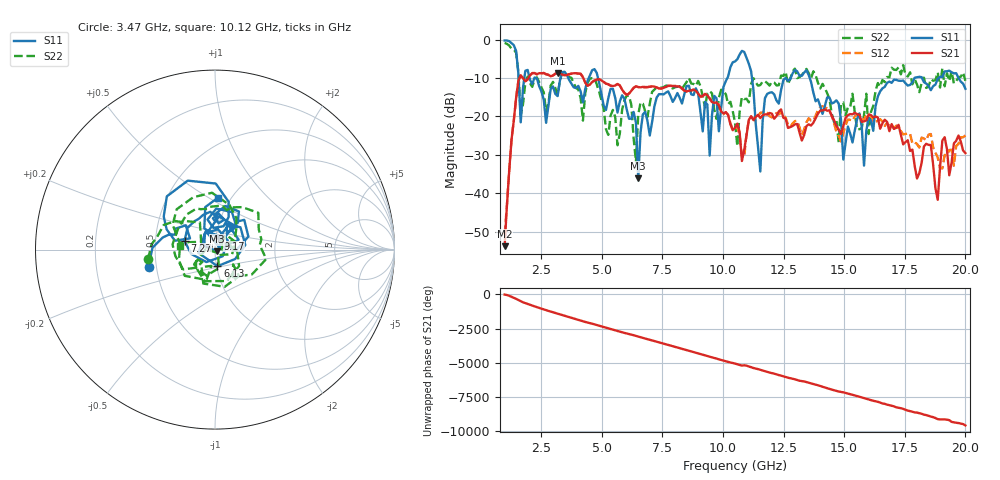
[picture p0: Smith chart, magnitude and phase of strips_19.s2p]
!Agilent Technologies,N5230A,MY45001629,A.07.50.67
!Agilent N5230A: A.07.50.67
!Date: Monday, June 05, 2017 16:34:08
!Correction: S11(Full 2 Port(1,2))
!S21(Full 2 Port(1,2))
!S12(Full 2 Port(1,2))
!S22(Full 2 Port(1,2))
!S2P File: Measurements: S11, S21, S12, S22:
# Hz S  dB  R 50
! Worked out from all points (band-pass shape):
!   201 points, 1 GHz to 20 GHz, reference 50 ohm
!   highest |S21| = -8.67 dB at 3.185 GHz (marker M1); lowest = -53.7 dB at 1 GHz (marker M2)
!   |S21| within 3 dB of the highest: 1.549 GHz to 4.38 GHz (2.831 GHz wide, 95.5 % of centre); 4.521 GHz to 5.282 GHz (760.6 MHz wide, 15.5 % of centre)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
!   lowest |S11| = -36.1 dB at 6.51 GHz (marker M3), VSWR 1.03, Z = 51.3 - j0.957 ohm
!   |S11| at or under -10 dB: 4.851 GHz to 10.18 GHz (5.332 GHz wide, 70.9 % of centre); 11.2 GHz to 12.59 GHz (1.387 GHz wide, 11.7 % of centre); 13.58 GHz to 17.9 GHz (4.323 GHz wide, 27.5 % of centre)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
!   |S22| runs from -31.8 to -0.9 dB; largest |S21 - S12| = 0.033
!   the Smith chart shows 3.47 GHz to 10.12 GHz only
!   S11 on the Smith chart (normalised r, x): 3.47 GHz: 0.45, -0.10; 6.13 GHz: 1.01, -0.19; 7.27 GHz: 0.71, +0.07; 9.17 GHz: 1.02, +0.13; 10.12 GHz: 0.87, +0.55
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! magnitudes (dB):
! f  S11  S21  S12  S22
! 1 GHz  -0.2  -53.7  -50.6  -0.9
! 1.57 GHz  -8.9  -10.7  -10.7  -8.6
! 3.185 GHz  -14.7  -8.7  -8.7  -14.5
! 3.47 GHz  -8.4  -9.2  -9.3  -8.5
! 4.23 GHz  -16.3  -9.8  -9.8  -21.1
! 6.13 GHz  -20.6  -14.0  -14.0  -14.6
! 6.415 GHz  -21.6  -12.2  -12.1  -31.8
! 6.51 GHz  -36.1  -12.3  -12.4  -19.5
! 7.27 GHz  -15.1  -12.5  -12.5  -12.5
! 7.365 GHz  -14.2  -12.7  -12.7  -12.7
! 9.17 GHz  -23.9  -14.7  -14.7  -14.7
! 10.12 GHz  -10.8  -18.9  -18.9  -14.1
! 10.5 GHz  -5.7  -22.9  -23.0  -21.5
! 11.16 GHz  -8.2  -19.9  -20.0  -11.5
! 11.54 GHz  -34.3  -20.4  -19.0  -11.8
! 11.83 GHz  -14.1  -19.5  -19.0  -11.3
! 13.73 GHz  -13.8  -21.6  -21.1  -8.2
! 15.82 GHz  -32.8  -21.3  -20.6  -19.7
! 16.86 GHz  -10.9  -23.8  -22.5  -9.8
! 18.86 GHz  -10.2  -41.7  -30.7  -8.5
! 19.05 GHz  -9.7  -26.3  -33.5  -7.4
! 20 GHz  -12.8  -29.5  -24.9  -10.7
